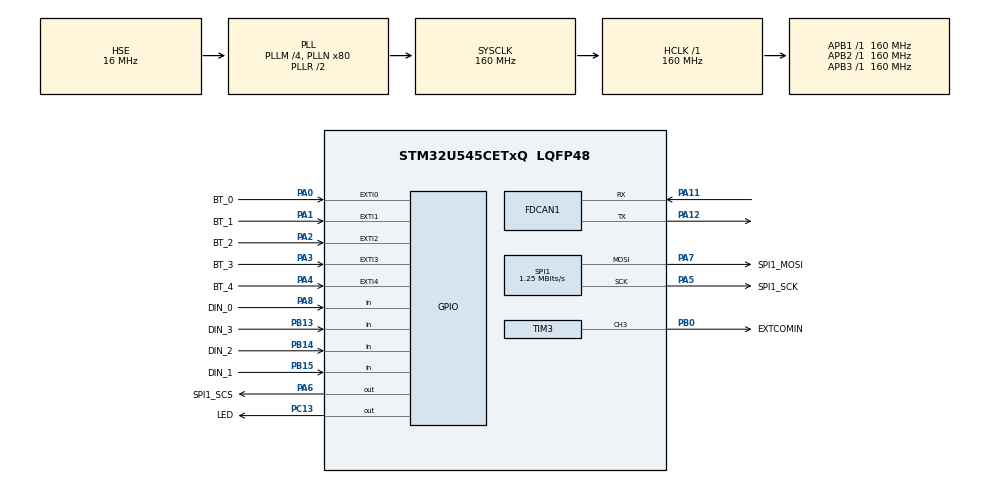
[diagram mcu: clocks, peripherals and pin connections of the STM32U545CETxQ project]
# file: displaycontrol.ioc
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CORTEX_M33_NS.userName=CORTEX_M33
FDCAN1.CalculateBaudRateNominal=500000
FDCAN1.CalculateTimeBitNominal=2000
FDCAN1.CalculateTimeQuantumNominal=62.5
FDCAN1.ExtFiltersNbr=1
FDCAN1.NominalPrescaler=1
FDCAN1.NominalSyncJumpWidth=4
FDCAN1.NominalTimeSeg1=27
FDCAN1.NominalTimeSeg2=4
FDCAN1.StdFiltersNbr=1
GPDMA1.DIRECTION_GPDMACH12=DMA_MEMORY_TO_PERIPH
GPDMA1.IPHANDLE_GPDMACH12-SIMPLEREQUEST_GPDMACH12=__NULL
GPDMA1.PRIORITY_GPDMACH12=DMA_LOW_PRIORITY_HIGH_WEIGHT
GPDMA1.REQUEST_GPDMACH12=GPDMA1_REQUEST_SPI1_TX
GPDMA1.SRCINC_GPDMACH12=DMA_SINC_INCREMENTED
Mcu.Family=STM32U5
Mcu.Name=STM32U545CETxQ
Mcu.Package=LQFP48
NVIC.EXTI0_IRQn=true\:2\:0\:false\:false\:true\:false\:true\:true
NVIC.EXTI1_IRQn=true\:2\:0\:false\:false\:true\:false\:true\:true
NVIC.EXTI2_IRQn=true\:2\:0\:false\:false\:true\:false\:true\:true
NVIC.EXTI3_IRQn=true\:2\:0\:false\:false\:true\:false\:true\:true
NVIC.EXTI4_IRQn=true\:2\:0\:false\:false\:true\:false\:true\:true
NVIC.FDCAN1_IT0_IRQn=true\:2\:0\:false\:false\:true\:true\:true\:true
NVIC.GPDMA1_Channel12_IRQn=true\:1\:0\:false\:false\:true\:true\:true\:true
NVIC.PriorityGroup=NVIC_PRIORITYGROUP_4
NVIC.SPI1_IRQn=true\:1\:0\:false\:false\:true\:true\:true\:true
PA0.GPIO_Label=BT_0
PA0.GPIO_ModeDefaultEXTI=GPIO_MODE_IT_FALLING
PA0.GPIO_PuPd=GPIO_PULLUP
PA0.Signal=GPXTI0
PA1.GPIO_Label=BT_1
PA1.GPIO_ModeDefaultEXTI=GPIO_MODE_IT_FALLING
PA1.GPIO_PuPd=GPIO_PULLUP
PA1.Signal=GPXTI1
PA11.Mode=FDCAN_Activate
PA11.Signal=FDCAN1_RX
PA12.Mode=FDCAN_Activate
PA12.Signal=FDCAN1_TX
PA13\ (JTMS/SWDIO).Mode=Serial_Wire
PA13\ (JTMS/SWDIO).Signal=DEBUG_JTMS-SWDIO
PA14\ (JTCK/SWCLK).Mode=Serial_Wire
PA14\ (JTCK/SWCLK).Signal=DEBUG_JTCK-SWCLK
PA2.GPIO_Label=BT_2
PA2.GPIO_ModeDefaultEXTI=GPIO_MODE_IT_FALLING
PA2.GPIO_PuPd=GPIO_PULLUP
PA2.Signal=GPXTI2
PA3.GPIO_Label=BT_3
PA3.GPIO_ModeDefaultEXTI=GPIO_MODE_IT_FALLING
PA3.GPIO_PuPd=GPIO_PULLUP
PA3.Signal=GPXTI3
PA4.GPIO_Label=BT_4
PA4.GPIO_ModeDefaultEXTI=GPIO_MODE_IT_FALLING
PA4.GPIO_PuPd=GPIO_PULLUP
PA4.Signal=GPXTI4
PA5.GPIO_Label=SPI1_SCK
PA5.GPIO_Speed=GPIO_SPEED_FREQ_MEDIUM
PA5.Mode=TX_Only_Simplex_Unidirect_Master
PA5.Signal=SPI1_SCK
PA6.GPIO_Label=SPI1_SCS
PA6.GPIO_Speed=GPIO_SPEED_FREQ_MEDIUM
PA6.Signal=GPIO_Output
PA7.GPIO_Label=SPI1_MOSI
PA7.GPIO_Speed=GPIO_SPEED_FREQ_MEDIUM
PA7.Mode=TX_Only_Simplex_Unidirect_Master
PA7.Signal=SPI1_MOSI
PA8.GPIO_Label=DIN_0
PA8.GPIO_PuPd=GPIO_NOPULL
PA8.Signal=GPIO_Input
PB0.GPIO_Label=EXTCOMIN
PB0.GPIO_Speed=GPIO_SPEED_FREQ_MEDIUM
PB0.Signal=S_TIM3_CH3
PB1.GPIO_Label=IMON_OUT
PB1.Signal=ADC1_IN16
PB13.GPIO_Label=DIN_3
PB13.GPIO_PuPd=GPIO_NOPULL
PB13.Signal=GPIO_Input
PB14.GPIO_Label=DIN_2
PB14.GPIO_PuPd=GPIO_NOPULL
PB14.Signal=GPIO_Input
PB15.GPIO_Label=DIN_1
PB15.GPIO_PuPd=GPIO_NOPULL
PB15.Signal=GPIO_Input
PC13.GPIO_Label=LED
PC13.Signal=GPIO_Output
PH0-OSC_IN\ (PH0).Mode=HSE-External-Oscillator
PH0-OSC_IN\ (PH0).Signal=RCC_OSC_IN
PH1-OSC_OUT\ (PH1).Mode=HSE-External-Oscillator
PH1-OSC_OUT\ (PH1).Signal=RCC_OSC_OUT
PWR.PowerMode=PWR_SMPS_SUPPLY
ProjectManager.HeapSize=0x200
ProjectManager.StackSize=0x400
ProjectManager.TargetToolchain=STM32CubeIDE
RCC.ADCCLockSelection=RCC_ADCDACCLKSOURCE_HSI
RCC.ADCFreq_Value=16000000
RCC.AHBFreq_Value=160000000
RCC.APB1Freq_Value=160000000
RCC.APB1TimFreq_Value=160000000
RCC.APB2Freq_Value=160000000
RCC.APB2TimFreq_Value=160000000
RCC.APB3Freq_Value=160000000
RCC.CortexFreq_Value=160000000
RCC.DACCLockSelectionVirtual=RCC_DAC1CLKSOURCE_LSI
RCC.DACCLockSelectionVirtualString=RCC_DAC1CLKSOURCE_LSI
RCC.EPOD_VALUE=16000000
RCC.FDCANClockSelection=RCC_FDCAN1CLKSOURCE_HSE
RCC.HCLKFreq_Value=160000000
RCC.HSE_VALUE=16000000
RCC.HSI48_VALUE=48000000
RCC.HSI_VALUE=16000000
RCC.LSE_VALUE=32768
RCC.LSIDIV_VALUE=32000
RCC.MSIClockRange=RCC_MSIRANGE_0
RCC.MSI_VALUE=48000000
RCC.PLL1R=2
RCC.PLL2FRACN=0
RCC.PLL3FRACN=0
RCC.PLLFRACN=0
RCC.PLLM=4
RCC.PLLN=80
RCC.PLLSourceVirtual=RCC_PLLSOURCE_HSE
RCC.SYSCLKFreq_VALUE=160000000
RCC.SYSCLKSource=RCC_SYSCLKSOURCE_PLLCLK
RCC.USBFreq_Value=48000000
RCC.VCOOutputFreq_Value=320000000
SH.S_TIM3_CH3.0=TIM3_CH3,PWM Generation3 CH3
SPI1.BaudRatePrescaler=SPI_BAUDRATEPRESCALER_128
SPI1.CalculateBaudRate=1.25 MBits/s
SPI1.DataSize=SPI_DATASIZE_8BIT
SPI1.Direction=SPI_DIRECTION_2LINES_TXONLY
SPI1.FirstBit=SPI_FIRSTBIT_LSB
SPI1.MasterKeepIOState=SPI_MASTER_KEEP_IO_STATE_ENABLE
SPI1.Mode=SPI_MODE_MASTER
SPI1.VirtualType=VM_MASTER
TIM3.AutoReloadPreload=TIM_AUTORELOAD_PRELOAD_ENABLE
TIM3.Channel-PWM\ Generation3\ CH3=TIM_CHANNEL_3
TIM3.PeriodNoDither=4999
TIM3.Prescaler=15999
TIM3.PulseNoDither_3=2500
VP_GPDMA1_VS_GPDMACH12.Mode=SIMPLEREQUEST_GPDMACH12
VP_ICACHE_VS_ICACHE.Mode=DirectMappedCache
VP_LPBAMQUEUE_VS_QUEUE.Mode=QUEUEMODE
VP_LPBAM_VS_SIG1.Mode=SmartRun
VP_LPBAM_VS_SIG4.Mode=LPDMA1
VP_MEMORYMAP_VS_MEMORYMAP.Mode=CurAppReg
VP_PWR_VS_LPOM.Mode=PowerOptimisation
VP_PWR_VS_SECSignals.Mode=Security/Privilege
board=custom

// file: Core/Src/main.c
/* USER CODE BEGIN Header */
/**
  ******************************************************************************
  * @file           : main.c
  * @brief          : Main program body
  ******************************************************************************
  * @attention
  *
  * Copyright (c) 2026 STMicroelectronics.
  * All rights reserved.
  *
  * This software is licensed under terms that can be found in the LICENSE file
  * in the root directory of this software component.
  * If no LICENSE file comes with this software, it is provided AS-IS.
  *
  ******************************************************************************
  */
/* USER CODE END Header */
#include "main.h"

/* USER CODE BEGIN Includes */
#include <stdio.h>
#include "lvgl.h"
#include "SHARP_MIP.h"
#include "ui.h"
#include "vehicle_data.h"
#include "dashboard_test.h"
#include "dashboard_ui.h"
#include "imon.h"
#include "can_bus.h"
#include "can_text.h"
#include "can_app.h"
#include "debug_log.h"
/* USER CODE END Includes */

/* USER CODE BEGIN PD */

/* ⚠ 전원 공급 방식(SMPS/LDO)과 시스템 클럭 소스는 CubeMX 설정입니다.
 *   이 파일에 스위치를 두지 마세요 -- 재생성 때 덮여 사라집니다.
 *
 *   전원 : displaycontrol.ioc 의 PWR.PowerMode = PWR_SMPS_SUPPLY
 *          -> SystemPower_Config() 의 HAL_PWREx_ConfigSupply()
 *          이 보드는 SMPS 인덕터가 실장되어 있어 SMPS로 동작합니다.
 *   클럭 : .ioc 의 PH0/PH1 = HSE-External-Oscillator, PLL 소스 = HSE
 *          -> SystemClock_Config() (HSE 16MHz -> PLL -> SYSCLK 160MHz)
 *          FDCAN 커널클럭도 HSE 직결이라 500kbit/s 타이밍이 여기 묶여 있습니다
 *          (stm32u5xx_hal_msp.c 의 HAL_FDCAN_MspInit 참고).
 *
 *   바꾸려면 CubeMX에서 .ioc를 고치고 재생성하세요.
 *   (예전에 USE_SMPS_SUPPLY / USE_HSE_CRYSTAL 매크로가 여기 있었지만
 *    #if로 참조하는 곳이 한 군데도 없는 죽은 코드였습니다. 0으로 바꿔도
 *    아무 효과가 없으면서 효과가 있는 것처럼 보여 위험해 삭제했습니다) */

/* 방향지시등/비상등 표시 스위치
 *   0 = 항상 소등
 *   1 = Switch_Process()가 읽은 LightData대로 표시   <- 현재 값
 *
 * 입력 극성은 main.h의 DIN_ACTIVE_HIGH로 정합니다. 현재 0(Active-LOW)이고,
 * 회로도 U9(TLP291-4GB) + 외부 10K 풀업(R30/R31/R35/R36) 기준으로 맞는
 * 값입니다. 미결선 상태에서는 풀업이 HIGH로 잡아 주므로 '소등'으로 읽힙니다.
 * (근거는 main.h의 DIN_ACTIVE_HIGH 주석)
 *
 * 현재 Switch_Process()는 DIN_1(우측)만 읽습니다. DIN_0(좌측) 배선이
 * 끝나면 Switch_Process() 안의 주석을 되살려 좌측/비상등을 켜세요. */
#define DASH_LIGHTS_ENABLE  1

/* USER CODE END PD */

FDCAN_HandleTypeDef hfdcan1;

SPI_HandleTypeDef hspi1;
DMA_HandleTypeDef handle_GPDMA1_Channel12;

TIM_HandleTypeDef htim3;

void SystemClock_Config(void);
static void SystemPower_Config(void);
static void MX_GPIO_Init(void);
static void MX_GPDMA1_Init(void);
static void MX_ICACHE_Init(void);
static void MX_FDCAN1_Init(void);
static void MX_SPI1_Init(void);
static void MX_TIM3_Init(void);
/* USER CODE BEGIN PFP */
void Switch_Process(void);
void Dashboard_ApplyInputs(void);
static void Dashboard_ShowZeros(void);
/* USER CODE END PFP */

/* USER CODE BEGIN 0 */

/*
 * ===== displaycontrol 보드 (STM32U545CETxQ / LQFP48) =====
 * test_nucleo(STM32U545RETxQ / LQFP64)에서 검증된 MIP LCD 코드를 옮겨온 것입니다.
 * 표시 로직(LVGL/UI/dashboard)은 그대로이고 핀 배치만 바뀌었습니다.
 *
 *   SPI1_SCK  : PA1  -> PA5
 *   SPI1_SCS  : PA6  (동일)
 *   SPI1_MOSI : PA7  (동일)
 *   EXTCOMIN  : PB0 / TIM3_CH3 (동일)
 *   버튼      : PA8/PB10/PA2 -> PA0~PA4 (5개)
 *   입력      : PB6/PB4/PB5  -> DIN_0~DIN_3 (PA8, PB15, PB14, PB13)
 *   상태 LED  : PA5  -> PC13
 *
 * USART1(PA9/PA10), I2C1(PB6/PB7)은 아직 사용하지 않아 비워 둡니다.
 *
 * ===== 입력 사양 =====
 *   BT_0 (PA0) : ACC ON  -> 설정속도 +1
 *                ACC OFF -> 실측 0x501 회생 프레임 10초 재생
 *                           (66km/h / 79% / -2250W. 음수 전력 표시 검증용)
 *   BT_1 (PA1) : ACC on/off 토글
 *   BT_2 (PA2) : ACC ON  -> 설정속도 -1
 *                ACC OFF -> 화면 메시지 확인(지우고 로고 복귀)
 *   BT_3 (PA3) : 0x500 텍스트 셀프테스트 주입
 *   BT_4 (PA4) : 예약 (EXTI만 등록, 동작 없음)
 *
 *   DIN_0 (PA8)  : 좌측 방향지시등
 *   DIN_1 (PB15) : 우측 방향지시등
 *     -> 둘 다 ON 이면 비상등
 *   DIN_2 (PB14), DIN_3 (PB13) : 미사용
 *
 * 버튼은 EXTI(하강엣지 + 디바운스), DIN은 메인 루프 폴링으로 읽습니다.
 * 두 입력의 결과는 vehicle_data.c의 AccData / LightData에 담기고,
 * Dashboard_ApplyInputs()가 매 루프 화면에 반영합니다.
 * (dashboard_test.c의 시뮬레이터는 ACC/방향지시등을 건드리지 않습니다)
 */

/**
  * @brief  속도를 제외한 모든 표시 값을 0으로 한 번 세팅
  * @note   시뮬레이터(dashboard_test.c)를 더 이상 돌리지 않으므로, 부팅 때
  *         한 번만 0을 찍고 그대로 둡니다. 값이 안 바뀌면 dashboard_ui의
  *         캐시가 LVGL 호출을 막아 화면을 다시 그리지 않습니다.
  *
  *         표시할 항목이 CAN으로 확정되면 can_app.c의 CanApp_ApplyToUI()에
  *         하나씩 추가하면 됩니다.
  */
static void Dashboard_ShowZeros(void)
{
	DashboardUI_SetSpeed(0);
	DashboardUI_SetRecommend(0);
	DashboardUI_SetCruise(0);
	DashboardUI_SetDte(0);
	DashboardUI_SetMppt(0);
	DashboardUI_SetMotor(0);
	DashboardUI_SetBattery(0);
	DashboardUI_SetBar(0);
	DashboardUI_SetTime(0, 0);
	DashboardUI_SetFault(0, 0);
	DashboardUI_SetPos(DASH_POS_NEUTRAL);
	DashboardUI_SetRegen(DASH_REGEN_OFF);
}

/**
  * @brief  DIN_1을 폴링해서 우측 방향지시등 상태를 갱신
  * @note   현재 DIN_1(우측)만 사용합니다. 500ms 점멸은 표시 계층에서 처리합니다.
  *         입력 극성은 main.h의 DIN_ACTIVE_HIGH로 바꿉니다.
  */
void Switch_Process(void)
{
	/* 지금은 DIN_1(우측 방향지시등)만 사용합니다.
	 *
	 * DIN_0은 배선이 아직 확정되지 않아 의도적으로 무시합니다.
	 * 극성은 main.h의 DIN_ACTIVE_HIGH = 0 (Active-LOW)이고, 외부 10K 풀업이
	 * 미결선 상태를 HIGH = '소등'으로 잡아 줍니다.
	 * DIN_0 배선이 끝나면 아래 주석을 되살리세요.
	 *
	 *   bool din0 = DIN_IS_ON(DIN_0_GPIO_Port, DIN_0_Pin);   // 좌측
	 *   LightData.Hazard_Signal = ( din0 &&  din1);
	 *   LightData.Left_Signal   = ( din0 && !din1);
	 *   LightData.Right_Signal  = (!din0 &&  din1);
	 */
	bool din1 = DIN_IS_ON(DIN_1_GPIO_Port, DIN_1_Pin);   /* 우측 */

	LightData.Left_Signal   = false;
	LightData.Right_Signal  = din1;
	LightData.Hazard_Signal = false;

	/* DIN_0, DIN_2, DIN_3: 미사용 */
}
/**
  * @brief  버튼/DIN 입력 결과를 화면에 반영 (메인 루프에서 매 회 호출)
  * @note   방향지시등 점멸은 DashboardUI_UpdateLights() 내부에서 처리하므로
  *         매 루프 정확히 1회만 호출해야 합니다.
  */
void Dashboard_ApplyInputs(void)
{
	/* ---- ACC (크루즈) : BT_1로 표시 on/off, BT_0/BT_2로 설정속도 ---- */
	DashboardUI_ShowCruise(AccData.Acc_state);
	if (AccData.Acc_state)
	{
		DashboardUI_SetCruise(AccData.Acc_speed);
	}

	/* ---- 방향지시등/비상등 ----
	 * 500ms 점멸은 DashboardUI_UpdateLights() 내부에서 처리하므로
	 * 매 루프 1회만 호출해야 합니다 (여러 번 호출하면 점멸이 깨집니다). */
#if DASH_LIGHTS_ENABLE
	DashboardUI_UpdateLights(LightData.Left_Signal,
	                         LightData.Right_Signal,
	                         LightData.Hazard_Signal);
#else
	/* 전부 소등 유지. show_obj가 상태 변화 시에만 invalidate하므로
	 * 첫 호출 이후로는 LVGL을 건드리지 않습니다. */
	DashboardUI_UpdateLights(false, false, false);
#endif
}

/* 그 밖의 표시 값은 dashboard_test.c(시뮬레이터)가 공급합니다.
 * 표시 값은 can_app.c의 CanApp_ApplyToUI()가 CAN 0x501에서 공급합니다.
 * (dashboard_test.c 시뮬레이터는 더 이상 호출하지 않습니다) */
/* USER CODE END 0 */

int main(void)
{

  /* MCU Configuration--------------------------------------------------------*/

  /* Reset of all peripherals, Initializes the Flash interface and the Systick. */
  HAL_Init();

  /* Configure the System Power */
  SystemPower_Config();

  /* Configure the system clock */
  SystemClock_Config();

  /* Initialize all configured peripherals */
  MX_GPIO_Init();
  MX_GPDMA1_Init();
  MX_ICACHE_Init();
  MX_FDCAN1_Init();
  MX_SPI1_Init();
  MX_TIM3_Init();
  /* USER CODE BEGIN 2 */

	// SPI1 커널클럭을 HSI16으로 전환 후 8분주 -> 정확히 2.0MHz (LS044Q7DH01 최대 스펙)
	// 기본 설정(160MHz/128 = 1.25MHz)보다 1.6배 빨라져 전체화면 갱신 64ms -> 40ms.
	// (MX_SPI1_Init 이후, 첫 SPI 사용 전에 실행. USER CODE 구역이라 재생성에도 안전)
	{
		__HAL_RCC_HSI_ENABLE();
		while (__HAL_RCC_GET_FLAG(RCC_FLAG_HSIRDY) == 0U) { }

		RCC_PeriphCLKInitTypeDef spiClk = {0};
		spiClk.PeriphClockSelection = RCC_PERIPHCLK_SPI1;
		spiClk.Spi1ClockSelection = RCC_SPI1CLKSOURCE_HSI;
		if (HAL_RCCEx_PeriphCLKConfig(&spiClk) != HAL_OK)
		{
			Error_Handler();
		}
		// 분주비 128 -> 8 (SPI가 아직 비활성 상태이므로 레지스터 직접 수정 가능)
		MODIFY_REG(SPI1->CFG1, SPI_CFG1_MBR, SPI_BAUDRATEPRESCALER_8);

		// ⚠ 핸들의 값도 같이 맞춰 둡니다. 레지스터만 고치면 핸들에는 128이
		//    남아, 나중에 누가 HAL_SPI_Init(&hspi1)을 다시 부르는 순간
		//    커널클럭은 HSI16인 채로 128분주가 복원되어 125kHz로 떨어집니다.
		//    (전체화면 10,082바이트 = 645ms -> SHARP_MIP_DMA_TIMEOUT_MS 150ms
		//     워치독이 매 프레임 터지고 화면이 깨집니다)
		hspi1.Init.BaudRatePrescaler = SPI_BAUDRATEPRESCALER_8;
	}

	// 디스플레이 EXTCOMIN용 PWM 시작 (2Hz, 50% - VCOM 반전용, EXTMODE=H 전제)
	HAL_TIM_PWM_Start(&htim3, TIM_CHANNEL_3);

	// 디스플레이 전원 안정화 대기 후 패널 메모리 초기화 (파워온 랜덤 픽셀 제거)
	HAL_Delay(100);
	sharp_mip_clear();

	// 1. LVGL 핵심 초기화
	lv_init();

	// 2. 디스플레이 버퍼 및 드라이버 초기화 (SHARP MIP 설정)
	static lv_disp_draw_buf_t draw_buf;
	static uint8_t buf_1[240 * (2 + 320 / 8) + 2]; // Sharp MIP 전용 Oversized 버퍼
	lv_disp_draw_buf_init(&draw_buf, buf_1, NULL, 320 * 240);

	static lv_disp_drv_t disp_drv;
	lv_disp_drv_init(&disp_drv);
#if SHARP_MIP_ROTATION == 90 || SHARP_MIP_ROTATION == 270
	disp_drv.hor_res = SHARP_MIP_PANEL_VER;   // 240 (세로 모드)
	disp_drv.ver_res = SHARP_MIP_PANEL_HOR;   // 320
#else
	disp_drv.hor_res = SHARP_MIP_PANEL_HOR;   // 320 (가로 모드)
	disp_drv.ver_res = SHARP_MIP_PANEL_VER;   // 240
#endif
	disp_drv.flush_cb = sharp_mip_flush;
	disp_drv.rounder_cb = sharp_mip_rounder;
	disp_drv.set_px_cb = sharp_mip_set_px;
	disp_drv.draw_buf = &draw_buf;
	lv_disp_drv_register(&disp_drv);

	// 3. SquareLine UI 초기화
	ui_init();

	// 4. 계기판 UI 초기화 + 표시 값을 0으로 (시뮬레이터는 더 이상 쓰지 않음).
	//    속도는 CAN 0x501에서만 오고, 안 들어오면 0을 표시합니다.
	DashboardUI_Init();
	Dashboard_ShowZeros();

	// 5. 전류 모니터(LM76202-Q1 IMON) 및 CAN 시작
	IMON_Init();
	CanBus_Init();
	CanText_Init();				// 0x500 텍스트 메시지 조립기
	CanApp_Init();				// 0x501 텔레메트리 / 0x510 명령
	DBG_Init();					// SWO 로그 + g_dbg 진단 스냅샷

	AccData.Acc_speed = 80;   // ACC 설정속도 기본값 (버튼 로직 유지용)

  /* USER CODE END 2 */

  /* Infinite loop */
  while (1)
  {

    /* USER CODE BEGIN 3 */
		// 하트비트(PC13): 500ms 주기로 30ms만 짧게 점멸.
		// 루프가 멈추면 LED는 꺼진 상태로 정지하므로 다른 패턴과 구분됩니다.
		static uint32_t hbTick = 0;
		uint32_t hbNow = HAL_GetTick();
		if ((hbNow - hbTick) < 30) { LED_ON(); } else { LED_OFF(); }
		if (hbNow - hbTick >= 500)
		{
			hbTick = hbNow;
		}

		Switch_Process();			// DIN 폴링 (방향지시등/비상등)
		IMON_Update();				// 전류 모니터 샘플링 (내부에서 20ms 간격 유지)
		CanBus_Process();			// 수신 CAN 프레임 -> CanBus_OnFrame() 디스패치

		// 지상국 텍스트 메시지(0x500) 회수.
		// CanBus_Process() 안에서 조립되므로 반드시 그 뒤에 호출할 것.
		//
		// 완성된 메시지는 ui_Text(로고 자리)에 우측 정렬로 표시됩니다.
		// 12글자를 넘으면 전광판처럼 한 글자씩 밀며 순환합니다.
		// 수신 이력은 g_dbg.txt_last / g_dbg.txt_msgs 로도 확인할 수 있습니다.
		{
			char canMsg[CAN_TEXT_MAX_BYTES + 1];
			if (CanText_Poll(canMsg, sizeof(canMsg)))
			{
				DashboardUI_ShowMessage(canMsg);	// 표시 중이면 즉시 교체
				DBG_NoteMessage(canMsg);	// g_dbg.txt_last 기록 + 로그
			}
		}
		// 차량 텔레메트리(0x501) 반영 + 명령(0x510) 주기 송신.
		// 표시하는 건 차속 하나뿐이고, 0x501이 600ms 넘게 끊기면 0으로 떨어진다.
		// 나머지 표시 값은 부팅 때 Dashboard_ShowZeros()로 0을 찍고 고정.
		// 0x510(ACC 명령): byte0 = 설정속도, byte1 = ACC on/off.
		// 보드가 0x420으로 중계 -> 모터 팀이 수신. 앞 2바이트만 전달됩니다.
		CanApp_SetAccCommand(AccData.Acc_state, AccData.Acc_speed);
		CanApp_Process();
		CanApp_ApplyToUI();			// 0x501 차속 반영 (수신 없으면 0)
		Dashboard_ApplyInputs();	// ACC/방향지시등을 실제 입력으로 갱신
		DashboardUI_UpdateMessage();	// 전광판 스크롤 + BT_2 확인 처리
		sharp_mip_service();		// DMA 완료 인터럽트 유실 감시 (워치독)
		DBG_Process();				// 루프 주기 측정 + 주기 진단 덤프 + 셀프테스트
		{
			uint32_t lvT0 = HAL_GetTick();
			lv_timer_handler();		// LVGL 갱신
			DBG_NoteLvglMs(HAL_GetTick() - lvT0);
		}
		HAL_Delay(5);
  }
  /* USER CODE END 3 */
}

void SystemClock_Config(void)
{
  RCC_OscInitTypeDef RCC_OscInitStruct = {0};
  RCC_ClkInitTypeDef RCC_ClkInitStruct = {0};

  /** Configure the main internal regulator output voltage
  */
  if (HAL_PWREx_ControlVoltageScaling(PWR_REGULATOR_VOLTAGE_SCALE1) != HAL_OK)
  {
    Error_Handler();
  }

  /** Initializes the CPU, AHB and APB buses clocks
  */
  RCC_OscInitStruct.OscillatorType = RCC_OSCILLATORTYPE_HSE;
  RCC_OscInitStruct.HSEState = RCC_HSE_ON;
  RCC_OscInitStruct.PLL.PLLState = RCC_PLL_ON;
  RCC_OscInitStruct.PLL.PLLSource = RCC_PLLSOURCE_HSE;
  RCC_OscInitStruct.PLL.PLLMBOOST = RCC_PLLMBOOST_DIV1;
  RCC_OscInitStruct.PLL.PLLM = 4;
  RCC_OscInitStruct.PLL.PLLN = 80;
  RCC_OscInitStruct.PLL.PLLP = 2;
  RCC_OscInitStruct.PLL.PLLQ = 2;
  RCC_OscInitStruct.PLL.PLLR = 2;
  RCC_OscInitStruct.PLL.PLLRGE = RCC_PLLVCIRANGE_0;
  RCC_OscInitStruct.PLL.PLLFRACN = 0;
  if (HAL_RCC_OscConfig(&RCC_OscInitStruct) != HAL_OK)
  {
    Error_Handler();
  }

  /** Initializes the CPU, AHB and APB buses clocks
  */
  RCC_ClkInitStruct.ClockType = RCC_CLOCKTYPE_HCLK|RCC_CLOCKTYPE_SYSCLK
                              |RCC_CLOCKTYPE_PCLK1|RCC_CLOCKTYPE_PCLK2
                              |RCC_CLOCKTYPE_PCLK3;
  RCC_ClkInitStruct.SYSCLKSource = RCC_SYSCLKSOURCE_PLLCLK;
  RCC_ClkInitStruct.AHBCLKDivider = RCC_SYSCLK_DIV1;
  RCC_ClkInitStruct.APB1CLKDivider = RCC_HCLK_DIV1;
  RCC_ClkInitStruct.APB2CLKDivider = RCC_HCLK_DIV1;
  RCC_ClkInitStruct.APB3CLKDivider = RCC_HCLK_DIV1;

  if (HAL_RCC_ClockConfig(&RCC_ClkInitStruct, FLASH_LATENCY_4) != HAL_OK)
  {
    Error_Handler();
  }
}

/**
  * @brief Power Configuration
  * @retval None
  */
static void SystemPower_Config(void)
{

  /*
   * Switch to SMPS regulator instead of LDO
   */
  if (HAL_PWREx_ConfigSupply(PWR_SMPS_SUPPLY) != HAL_OK)
  {
    Error_Handler();
  }
}

static void MX_FDCAN1_Init(void)
{

  hfdcan1.Instance = FDCAN1;
  hfdcan1.Init.ClockDivider = FDCAN_CLOCK_DIV1;
  hfdcan1.Init.FrameFormat = FDCAN_FRAME_CLASSIC;
  hfdcan1.Init.Mode = FDCAN_MODE_NORMAL;
  hfdcan1.Init.AutoRetransmission = DISABLE;
  hfdcan1.Init.TransmitPause = DISABLE;
  hfdcan1.Init.ProtocolException = DISABLE;
  hfdcan1.Init.NominalPrescaler = 1;
  hfdcan1.Init.NominalSyncJumpWidth = 4;
  hfdcan1.Init.NominalTimeSeg1 = 27;
  hfdcan1.Init.NominalTimeSeg2 = 4;
  hfdcan1.Init.DataPrescaler = 1;
  hfdcan1.Init.DataSyncJumpWidth = 1;
  hfdcan1.Init.DataTimeSeg1 = 1;
  hfdcan1.Init.DataTimeSeg2 = 1;
  hfdcan1.Init.StdFiltersNbr = 1;
  hfdcan1.Init.ExtFiltersNbr = 1;
  hfdcan1.Init.TxFifoQueueMode = FDCAN_TX_FIFO_OPERATION;
  if (HAL_FDCAN_Init(&hfdcan1) != HAL_OK)
  {
    Error_Handler();
  }
  /* USER CODE BEGIN FDCAN1_Init 2 */

  /* 비트레이트 : 커널클럭(HSE 16MHz) / 1 / (1 + 27 + 4)tq = 500 kbit/s
   * 샘플포인트 = (1 + 27) / 32 = 87.5%  (CiA 권장)
   * 필터/인터럽트 설정과 Start는 CanBus_Init()에서 합니다. */

  /* USER CODE END FDCAN1_Init 2 */

}

static void MX_GPDMA1_Init(void)
{

  /* Peripheral clock enable */
  __HAL_RCC_GPDMA1_CLK_ENABLE();

  /* GPDMA1 interrupt Init */
    HAL_NVIC_SetPriority(GPDMA1_Channel12_IRQn, 1, 0);
    HAL_NVIC_EnableIRQ(GPDMA1_Channel12_IRQn);

  /* USER CODE BEGIN GPDMA1_Init 2 */

  /* 채널 설정(SPI1_TX 요청, MEM->PERIPH)과 __HAL_LINKDMA는
   * stm32u5xx_hal_msp.c의 HAL_SPI_MspInit()에서 수행됩니다. */

  /* USER CODE END GPDMA1_Init 2 */

}

static void MX_ICACHE_Init(void)
{

  /** Enable instruction cache in 1-way (direct mapped cache)
  */
  if (HAL_ICACHE_ConfigAssociativityMode(ICACHE_1WAY) != HAL_OK)
  {
    Error_Handler();
  }
  if (HAL_ICACHE_Enable() != HAL_OK)
  {
    Error_Handler();
  }

}

static void MX_SPI1_Init(void)
{

  SPI_AutonomousModeConfTypeDef HAL_SPI_AutonomousMode_Cfg_Struct = {0};

  /* SPI1 parameter configuration*/
  hspi1.Instance = SPI1;
  hspi1.Init.Mode = SPI_MODE_MASTER;
  hspi1.Init.Direction = SPI_DIRECTION_2LINES_TXONLY;
  hspi1.Init.DataSize = SPI_DATASIZE_8BIT;
  hspi1.Init.CLKPolarity = SPI_POLARITY_LOW;
  hspi1.Init.CLKPhase = SPI_PHASE_1EDGE;
  hspi1.Init.NSS = SPI_NSS_SOFT;
  hspi1.Init.BaudRatePrescaler = SPI_BAUDRATEPRESCALER_128;
  hspi1.Init.FirstBit = SPI_FIRSTBIT_LSB;
  hspi1.Init.TIMode = SPI_TIMODE_DISABLE;
  hspi1.Init.CRCCalculation = SPI_CRCCALCULATION_DISABLE;
  hspi1.Init.CRCPolynomial = 0x7;
  hspi1.Init.NSSPMode = SPI_NSS_PULSE_ENABLE;
  hspi1.Init.NSSPolarity = SPI_NSS_POLARITY_LOW;
  hspi1.Init.FifoThreshold = SPI_FIFO_THRESHOLD_01DATA;
  hspi1.Init.MasterSSIdleness = SPI_MASTER_SS_IDLENESS_00CYCLE;
  hspi1.Init.MasterInterDataIdleness = SPI_MASTER_INTERDATA_IDLENESS_00CYCLE;
  hspi1.Init.MasterReceiverAutoSusp = SPI_MASTER_RX_AUTOSUSP_DISABLE;
  hspi1.Init.MasterKeepIOState = SPI_MASTER_KEEP_IO_STATE_ENABLE;
  hspi1.Init.IOSwap = SPI_IO_SWAP_DISABLE;
  hspi1.Init.ReadyMasterManagement = SPI_RDY_MASTER_MANAGEMENT_INTERNALLY;
  hspi1.Init.ReadyPolarity = SPI_RDY_POLARITY_HIGH;
  if (HAL_SPI_Init(&hspi1) != HAL_OK)
  {
    Error_Handler();
  }
  HAL_SPI_AutonomousMode_Cfg_Struct.TriggerState = SPI_AUTO_MODE_DISABLE;
  HAL_SPI_AutonomousMode_Cfg_Struct.TriggerSelection = SPI_GRP1_GPDMA_CH0_TCF_TRG;
  HAL_SPI_AutonomousMode_Cfg_Struct.TriggerPolarity = SPI_TRIG_POLARITY_RISING;
  if (HAL_SPIEx_SetConfigAutonomousMode(&hspi1, &HAL_SPI_AutonomousMode_Cfg_Struct) != HAL_OK)
  {
    Error_Handler();
  }

}

static void MX_TIM3_Init(void)
{

  TIM_MasterConfigTypeDef sMasterConfig = {0};
  TIM_OC_InitTypeDef sConfigOC = {0};

  htim3.Instance = TIM3;
  htim3.Init.Prescaler = 15999;
  htim3.Init.CounterMode = TIM_COUNTERMODE_UP;
  htim3.Init.Period = 4999;
  htim3.Init.ClockDivision = TIM_CLOCKDIVISION_DIV1;
  htim3.Init.AutoReloadPreload = TIM_AUTORELOAD_PRELOAD_ENABLE;
  if (HAL_TIM_PWM_Init(&htim3) != HAL_OK)
  {
    Error_Handler();
  }
  sMasterConfig.MasterOutputTrigger = TIM_TRGO_RESET;
  sMasterConfig.MasterSlaveMode = TIM_MASTERSLAVEMODE_DISABLE;
  if (HAL_TIMEx_MasterConfigSynchronization(&htim3, &sMasterConfig) != HAL_OK)
  {
    Error_Handler();
  }
  sConfigOC.OCMode = TIM_OCMODE_PWM1;
  sConfigOC.Pulse = 2500;
  sConfigOC.OCPolarity = TIM_OCPOLARITY_HIGH;
  sConfigOC.OCFastMode = TIM_OCFAST_DISABLE;
  if (HAL_TIM_PWM_ConfigChannel(&htim3, &sConfigOC, TIM_CHANNEL_3) != HAL_OK)
  {
    Error_Handler();
  }
  HAL_TIM_MspPostInit(&htim3);

}

static void MX_GPIO_Init(void)
{
  GPIO_InitTypeDef GPIO_InitStruct = {0};

  /* GPIO Ports Clock Enable */
  __HAL_RCC_GPIOC_CLK_ENABLE();
  __HAL_RCC_GPIOH_CLK_ENABLE();
  __HAL_RCC_GPIOA_CLK_ENABLE();
  __HAL_RCC_GPIOB_CLK_ENABLE();

  /*Configure GPIO pin Output Level */
  HAL_GPIO_WritePin(LED_GPIO_Port, LED_Pin, GPIO_PIN_RESET);

  /*Configure GPIO pin Output Level */
  HAL_GPIO_WritePin(SPI1_SCS_GPIO_Port, SPI1_SCS_Pin, GPIO_PIN_RESET);

  /*Configure GPIO pin : LED_Pin */
  GPIO_InitStruct.Pin = LED_Pin;
  GPIO_InitStruct.Mode = GPIO_MODE_OUTPUT_PP;
  GPIO_InitStruct.Pull = GPIO_NOPULL;
  GPIO_InitStruct.Speed = GPIO_SPEED_FREQ_LOW;
  HAL_GPIO_Init(LED_GPIO_Port, &GPIO_InitStruct);

  /*Configure GPIO pins : BT_0_Pin BT_1_Pin BT_2_Pin BT_3_Pin
                           BT_4_Pin */
  GPIO_InitStruct.Pin = BT_0_Pin|BT_1_Pin|BT_2_Pin|BT_3_Pin
                          |BT_4_Pin;
  GPIO_InitStruct.Mode = GPIO_MODE_IT_FALLING;
  GPIO_InitStruct.Pull = GPIO_PULLUP;
  HAL_GPIO_Init(GPIOA, &GPIO_InitStruct);

  /*Configure GPIO pin : SPI1_SCS_Pin */
  GPIO_InitStruct.Pin = SPI1_SCS_Pin;
  GPIO_InitStruct.Mode = GPIO_MODE_OUTPUT_PP;
  GPIO_InitStruct.Pull = GPIO_NOPULL;
  GPIO_InitStruct.Speed = GPIO_SPEED_FREQ_MEDIUM;
  HAL_GPIO_Init(SPI1_SCS_GPIO_Port, &GPIO_InitStruct);

  /*Configure GPIO pin : IMON_OUT_Pin */
  GPIO_InitStruct.Pin = IMON_OUT_Pin;
  GPIO_InitStruct.Mode = GPIO_MODE_ANALOG;
  GPIO_InitStruct.Pull = GPIO_NOPULL;
  HAL_GPIO_Init(IMON_OUT_GPIO_Port, &GPIO_InitStruct);

  /*Configure GPIO pins : DIN_3_Pin DIN_2_Pin DIN_1_Pin */
  GPIO_InitStruct.Pin = DIN_3_Pin|DIN_2_Pin|DIN_1_Pin;
  GPIO_InitStruct.Mode = GPIO_MODE_INPUT;
  GPIO_InitStruct.Pull = GPIO_NOPULL;
  HAL_GPIO_Init(GPIOB, &GPIO_InitStruct);

  /*Configure GPIO pin : DIN_0_Pin */
  GPIO_InitStruct.Pin = DIN_0_Pin;
  GPIO_InitStruct.Mode = GPIO_MODE_INPUT;
  GPIO_InitStruct.Pull = GPIO_NOPULL;
  HAL_GPIO_Init(DIN_0_GPIO_Port, &GPIO_InitStruct);

  /* EXTI interrupt init*/
  HAL_NVIC_SetPriority(EXTI0_IRQn, 2, 0);
  HAL_NVIC_EnableIRQ(EXTI0_IRQn);

  HAL_NVIC_SetPriority(EXTI1_IRQn, 2, 0);
  HAL_NVIC_EnableIRQ(EXTI1_IRQn);

  HAL_NVIC_SetPriority(EXTI2_IRQn, 2, 0);
  HAL_NVIC_EnableIRQ(EXTI2_IRQn);

  HAL_NVIC_SetPriority(EXTI3_IRQn, 2, 0);
  HAL_NVIC_EnableIRQ(EXTI3_IRQn);

  HAL_NVIC_SetPriority(EXTI4_IRQn, 2, 0);
  HAL_NVIC_EnableIRQ(EXTI4_IRQn);

}

/* USER CODE BEGIN 4 */

/**
  * @brief  버튼 인터럽트 콜백 (디바운스 + 릴리즈 바운스 필터 포함)
  * @note   버튼은 Active-LOW (누르면 GND) → FALLING 엣지에서 동작.
  *         STM32U5 HAL은 HAL_GPIO_EXTI_Callback이 아니라
  *         HAL_GPIO_EXTI_Rising_Callback / Falling_Callback을 호출합니다!
  *         DIN_0/DIN_1(방향지시등)은 Switch_Process()가 폴링으로 처리합니다.
  */
void HAL_GPIO_EXTI_Falling_Callback(uint16_t GPIO_Pin)
{
	static uint32_t lastTick[5] = {0};
	uint8_t idx;
	GPIO_TypeDef *port;

	if (GPIO_Pin == BT_0_Pin)      { idx = 0; port = BT_0_GPIO_Port; }
	else if (GPIO_Pin == BT_1_Pin) { idx = 1; port = BT_1_GPIO_Port; }
	else if (GPIO_Pin == BT_2_Pin) { idx = 2; port = BT_2_GPIO_Port; }
	else if (GPIO_Pin == BT_3_Pin) { idx = 3; port = BT_3_GPIO_Port; }
	else if (GPIO_Pin == BT_4_Pin) { idx = 4; port = BT_4_GPIO_Port; }
	else return;                   // BT_0~4 외의 핀은 무시

	uint32_t now = HAL_GetTick();
	if (now - lastTick[idx] < 120) return;  // 디바운스 120ms

	// 버튼을 뗄 때 생기는 바운스도 falling 엣지를 만들 수 있으므로,
	// 실제로 눌린 상태(LOW)인지 레벨을 한 번 더 확인해서 유령 입력을 거른다
	if (HAL_GPIO_ReadPin(port, GPIO_Pin) != GPIO_PIN_RESET) return;

	lastTick[idx] = now;

	if (GPIO_Pin == BT_1_Pin)
	{
		// BT_1: ACC on/off 토글 (OFF면 크루즈 표시가 화면에서 숨겨짐)
		AccData.Acc_state = !AccData.Acc_state;
	}
	else if (GPIO_Pin == BT_3_Pin)
	{
		// BT_3: 0x500 셀프테스트 메시지 주입 (CAN 하드웨어 없이 표시 경로 검증).
		// 실제 주입은 메인 루프의 DBG_Process()에서 실행합니다.
		// ISR에서 조립기를 직접 건드리면 CanText_Poll()과 경합합니다.
		DBG_RequestSelfTest();
	}
	else if (GPIO_Pin == BT_0_Pin)
	{
		// BT_0은 ACC 상태에 따라 두 가지 역할을 합니다.
		if (AccData.Acc_state)
		{
			// ACC ON: 설정속도 +1 (상한 150은 임의값이니 필요하면 조정하세요)
			if (AccData.Acc_speed < 150)
			{
				AccData.Acc_speed++;
			}
		}
		else
		{
			// ACC OFF: 보드 팀이 캡처한 실측 0x501 '회생 최대' 프레임을 10초간 재생.
			// 기대 표시 -> 66 km/h / 79% / -2250W (음수 전력 표시 검증)
			//
			// ACC가 꺼져 있으면 설정속도 조절이 어차피 동작하지 않으므로,
			// 그 상태의 BT_0을 시험용으로 씁니다. 버튼을 새로 배정하지 않아도
			// 되고, ACC를 켜면 원래 기능으로 자동 복귀합니다.
			//
			// BT_3과 같은 이유로 여기서는 플래그만 세웁니다
			// (실제 주입은 메인 루프의 DBG_Process()에서 실행).
			DBG_RequestCapturedFrame();
		}
	}
	else if (GPIO_Pin == BT_2_Pin)
	{
		// BT_2도 ACC 상태에 따라 두 가지 역할을 합니다.
		if (AccData.Acc_state)
		{
			// ACC ON: 설정속도 -1
			if (AccData.Acc_speed > 0)
			{
				AccData.Acc_speed--;
			}
		}
		else
		{
			// ACC OFF: 화면에 떠 있는 지상국 메시지를 '확인'하고 지웁니다.
			//          메시지가 사라지면 KUST 로고가 다시 나옵니다.
			//          플래그만 세우고 실제 처리는 메인 루프에서 합니다.
			DashboardUI_AckMessage();
		}
	}
	// BT_4 : 예약 (EXTI만 등록, 동작 없음)
}

/**
  * @brief  LVGL assert(메모리 부족 등) 발생 시 호출됨 (lv_conf.h LV_ASSERT_HANDLER)
  * @note   LED(PC13) 패턴: 길게 켜짐(400ms) + 짧게 꺼짐(100ms) 반복
  */
void app_lvgl_assert(void)
{
	__disable_irq();
	while (1)
	{
		LED_ON();
		for (volatile uint32_t i = 0; i < 16000000; i++) { } // ~400ms
		LED_OFF();
		for (volatile uint32_t i = 0; i < 4000000; i++) { }  // ~100ms
	}
}

/**
  * @brief  SPI 전송 완료 콜백 (DMA 전송이 완료되면 자동 호출됨)
  * @note   실제 처리(SCS 내리기 + lv_disp_flush_ready)는 드라이버 안에 있습니다.
  *         SHARP_MIP.c의 sharp_mip_tx_complete_isr() 참고.
  * @param  hspi: SPI handle
  * @retval None
  */
void HAL_SPI_TxCpltCallback(SPI_HandleTypeDef *hspi)
{
    if (hspi->Instance == SPI1)
    {
        sharp_mip_tx_complete_isr();
    }
}

/* USER CODE END 4 */

void Error_Handler(void)
{
  /* USER CODE BEGIN Error_Handler_Debug */
  /* User can add his own implementation to report the HAL error return state */
  __disable_irq();
  LED_ON();   /* LED 켜짐 유지 = Error_Handler 진입 표시 */
  while (1)
  {
  }
  /* USER CODE END Error_Handler_Debug */
}
